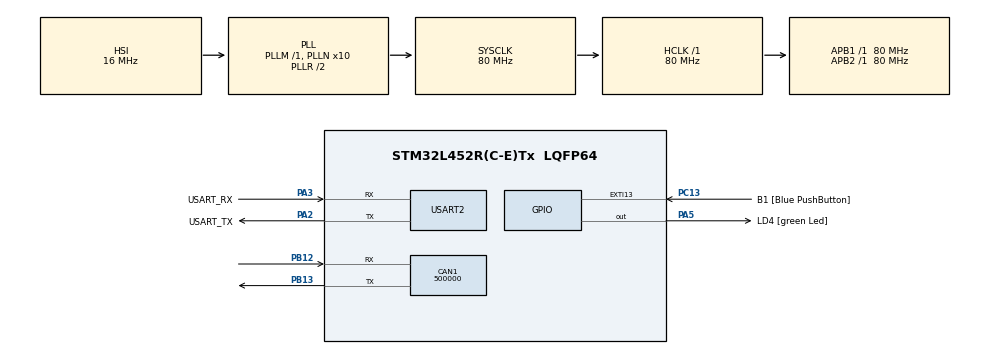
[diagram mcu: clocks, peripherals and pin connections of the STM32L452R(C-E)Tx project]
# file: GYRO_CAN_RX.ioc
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CAN1.BS1=CAN_BS1_4TQ
CAN1.BS2=CAN_BS2_5TQ
CAN1.CalculateBaudRate=500000
CAN1.CalculateTimeBit=2000
CAN1.CalculateTimeQuantum=200.0
Mcu.Family=STM32L4
Mcu.Name=STM32L452R(C-E)Tx
Mcu.Package=LQFP64
NVIC.PriorityGroup=NVIC_PRIORITYGROUP_4
PA13\ (JTMS/SWDIO).GPIO_Label=TMS
PA13\ (JTMS/SWDIO).Mode=Serial_Wire
PA13\ (JTMS/SWDIO).Signal=SYS_JTMS-SWDIO
PA14\ (JTCK/SWCLK).GPIO_Label=TCK
PA14\ (JTCK/SWCLK).Mode=Serial_Wire
PA14\ (JTCK/SWCLK).Signal=SYS_JTCK-SWCLK
PA2.GPIO_Label=USART_TX
PA2.GPIO_Mode=GPIO_MODE_AF_PP
PA2.GPIO_PuPd=GPIO_NOPULL
PA2.GPIO_Speed=GPIO_SPEED_FREQ_VERY_HIGH
PA2.Mode=Asynchronous
PA2.Signal=USART2_TX
PA3.GPIO_Label=USART_RX
PA3.GPIO_Mode=GPIO_MODE_AF_PP
PA3.GPIO_PuPd=GPIO_NOPULL
PA3.GPIO_Speed=GPIO_SPEED_FREQ_VERY_HIGH
PA3.Mode=Asynchronous
PA3.Signal=USART2_RX
PA5.GPIO_Label=LD4 [green Led]
PA5.GPIO_ModeDefaultOutputPP=GPIO_MODE_OUTPUT_PP
PA5.GPIO_PuPd=GPIO_NOPULL
PA5.GPIO_Speed=GPIO_SPEED_FREQ_LOW
PA5.Signal=GPIO_Output
PB12.Mode=CAN_Activate
PB12.Signal=CAN1_RX
PB13.Mode=CAN_Activate
PB13.Signal=CAN1_TX
PB3\ (JTDO/TRACESWO).GPIO_Label=SWO
PB3\ (JTDO/TRACESWO).Signal=SYS_JTDO-SWO
PC13.GPIO_Label=B1 [Blue PushButton]
PC13.GPIO_ModeDefaultEXTI=GPIO_MODE_IT_FALLING
PC13.GPIO_PuPd=GPIO_NOPULL
PC13.Signal=GPXTI13
PC14-OSC32_IN\ (PC14).Mode=LSE-External-Oscillator
PC14-OSC32_IN\ (PC14).Signal=RCC_OSC32_IN
PC15-OSC32_OUT\ (PC15).Mode=LSE-External-Oscillator
PC15-OSC32_OUT\ (PC15).Signal=RCC_OSC32_OUT
PH0-OSC_IN\ (PH0).Mode=HSE-External-Oscillator
PH0-OSC_IN\ (PH0).Signal=RCC_OSC_IN
PH1-OSC_OUT\ (PH1).Mode=HSE-External-Oscillator
PH1-OSC_OUT\ (PH1).Signal=RCC_OSC_OUT
ProjectManager.HeapSize=0x200
ProjectManager.StackSize=0x400
ProjectManager.TargetToolchain=STM32CubeIDE
RCC.ADCFreq_Value=64000000
RCC.AHBFreq_Value=80000000
RCC.APB1Freq_Value=80000000
RCC.APB1TimFreq_Value=80000000
RCC.APB2Freq_Value=80000000
RCC.APB2TimFreq_Value=80000000
RCC.CortexFreq_Value=80000000
RCC.HCLKFreq_Value=80000000
RCC.HSE_VALUE=8000000
RCC.HSI48_VALUE=48000000
RCC.HSI_VALUE=16000000
RCC.MSI_VALUE=4000000
RCC.PLLN=10
RCC.PLLSourceVirtual=RCC_PLLSOURCE_HSI
RCC.PREFETCH_ENABLE=1
RCC.SYSCLKFreq_VALUE=80000000
RCC.SYSCLKSource=RCC_SYSCLKSOURCE_PLLCLK
RCC.USBFreq_Value=64000000
RCC.VCOOutputFreq_Value=160000000
USART2.VirtualMode-Asynchronous=VM_ASYNC
board=NUCLEO-L452RE

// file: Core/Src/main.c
/* USER CODE BEGIN Header */
/**
  ******************************************************************************
  * @file           : main.c
  * @brief          : Main program body
  ******************************************************************************
  * @attention
  *
  * Copyright (c) 2023 STMicroelectronics.
  * All rights reserved.
  *
  * This software is licensed under terms that can be found in the LICENSE file
  * in the root directory of this software component.
  * If no LICENSE file comes with this software, it is provided AS-IS.
  *
  ******************************************************************************
  */
/* USER CODE END Header */
#include "main.h"
#include "can.h"
#include "usart.h"
#include "gpio.h"

/* USER CODE BEGIN PD */
CAN_RxHeaderTypeDef CAN_RXH;
CAN_FilterTypeDef gyro_fil;
int8_t CAN_value[8]={0};
typedef struct GYRO_DATA
{
	int8_t
	acc_x1,acc_x2,
	acc_y1,acc_y2,
	acc_z1,acc_z2,
	gyr_x1,gyr_x2,
	gyr_y1,gyr_y2,
	gyr_z1,gyr_z2,
	ang_x1,ang_x2,
	ang_y1,ang_y2,
	ang_z1,ang_z2;
	int16_t
	acc_X,acc_Y,acc_Z,
	gyr_X,gyr_Y,gyr_Z,
	ang_X,ang_Y,ang_Z;

} GYRO_DATA;

/* USER CODE END PD */

/* USER CODE BEGIN PV */
GYRO_DATA CAN_VALUE;
int16_t tmp;
uint8_t tmp2;
/* USER CODE END PV */

void SystemClock_Config(void);

int main(void)
{

  /* MCU Configuration--------------------------------------------------------*/

  /* Reset of all peripherals, Initializes the Flash interface and the Systick. */
  HAL_Init();

  /* Configure the system clock */
  SystemClock_Config();

  /* Initialize all configured peripherals */
  MX_GPIO_Init();
  MX_USART2_UART_Init();
  MX_CAN1_Init();
  /* USER CODE BEGIN 2 */
  gyro_fil.FilterActivation = CAN_FILTER_ENABLE;
  gyro_fil.FilterBank = 1;
  gyro_fil.FilterFIFOAssignment =CAN_FILTER_FIFO0;
  gyro_fil.FilterIdHigh = 0x0000;
  gyro_fil.FilterIdLow = 0x0000;
  gyro_fil.FilterMaskIdHigh = 0x0000;
  gyro_fil.FilterMaskIdLow = 0x0000;
  gyro_fil.FilterMode = CAN_FILTERMODE_IDMASK;
  gyro_fil.FilterScale = CAN_FILTERSCALE_16BIT;

  HAL_CAN_ConfigFilter(&hcan1,&gyro_fil);
  HAL_CAN_Start(&hcan1);

  /* USER CODE END 2 */

  /* Infinite loop */
  while (1)
  {

    /* USER CODE BEGIN 3 */
	  HAL_CAN_GetRxMessage(&hcan1, CAN_RX_FIFO0, &CAN_RXH, CAN_value);
	  if(CAN_RXH.StdId==1)
	  {
		  if(CAN_value[1]==0x33) //acc
		  	  {
		  		 CAN_VALUE.acc_x1=CAN_value[2];
		  		 CAN_VALUE.acc_x2=CAN_value[3];
		  		 CAN_VALUE.acc_y1=CAN_value[4];
		  		 CAN_VALUE.acc_y2=CAN_value[5];
		  		 CAN_VALUE.acc_z1=CAN_value[6];
		  		 CAN_VALUE.acc_z2=CAN_value[7];

				 CAN_VALUE.acc_X = (CAN_VALUE.acc_x2 << 8) + (uint8_t)CAN_VALUE.acc_x1;
			     CAN_VALUE.acc_Y = (CAN_VALUE.acc_y2 << 8) + (uint8_t)CAN_VALUE.acc_y1;
			  	 CAN_VALUE.acc_Z = (CAN_VALUE.acc_z2 << 8) + (uint8_t)CAN_VALUE.acc_z1;

		  		 /*CAN_VALUE.acc_X = (CAN_VALUE.acc_x2 << 8) | CAN_VALUE.acc_x1;
		  		 CAN_VALUE.acc_Y = (CAN_VALUE.acc_y2 << 8) | CAN_VALUE.acc_y1;
		  		 CAN_VALUE.acc_Z = (CAN_VALUE.acc_z2 << 8) | CAN_VALUE.acc_z1;*/
		  	  }
		  else if(CAN_value[1]==0x34) // gyro
		  	  {
			     CAN_VALUE.gyr_x1=CAN_value[2];
				 CAN_VALUE.gyr_x2=CAN_value[3];
				 CAN_VALUE.gyr_y1=CAN_value[4];
				 CAN_VALUE.gyr_y2=CAN_value[5];
				 CAN_VALUE.gyr_z1=CAN_value[6];
				 CAN_VALUE.gyr_z2=CAN_value[7];

				 CAN_VALUE.gyr_X = (CAN_VALUE.gyr_x2 << 8) + (uint8_t)CAN_VALUE.gyr_x1;
				 CAN_VALUE.gyr_Y = (CAN_VALUE.gyr_y2 << 8) + (uint8_t)CAN_VALUE.gyr_y1;
				 CAN_VALUE.gyr_Z = (CAN_VALUE.gyr_z2 << 8) + (uint8_t)CAN_VALUE.gyr_z1;

		  		 /*CAN_VALUE.gyr_X = (CAN_VALUE.gyr_x2 << 8) | CAN_VALUE.gyr_x1;
		  		 CAN_VALUE.gyr_Y = (CAN_VALUE.gyr_y2 << 8) | CAN_VALUE.gyr_y1;
		  		 CAN_VALUE.gyr_Z = (CAN_VALUE.gyr_z2 << 8) | CAN_VALUE.gyr_z1;*/
		  	  }
		  else if(CAN_value[1]==0x35) // ang
		  	  {
			     CAN_VALUE.ang_x1=CAN_value[2];
				 CAN_VALUE.ang_x2=CAN_value[3];
				 CAN_VALUE.ang_y1=CAN_value[4];
				 CAN_VALUE.ang_y2=CAN_value[5];
				 CAN_VALUE.ang_z1=CAN_value[6];
				 CAN_VALUE.ang_z2=CAN_value[7];

			  	CAN_VALUE.ang_X = (CAN_VALUE.ang_x2 << 8) + (uint8_t)CAN_VALUE.ang_x1;
		  		CAN_VALUE.ang_Y = (CAN_VALUE.ang_y2 << 8) + (uint8_t)CAN_VALUE.ang_y1;
		  		CAN_VALUE.ang_Z = (CAN_VALUE.ang_z2 << 8) + (uint8_t)CAN_VALUE.ang_z1;
		  		/*CAN_VALUE.ang_X = (CAN_VALUE.ang_x2 << 8) | CAN_VALUE.ang_x1;
			     CAN_VALUE.ang_Y = (CAN_VALUE.ang_y2 << 8) | CAN_VALUE.ang_y1;
		  		 tmp = (CAN_VALUE.ang_z2 << 8);
		  		 tmp2 = (uint8_t)CAN_VALUE.ang_z1;
		  		 CAN_VALUE.ang_Z = tmp + tmp2;*/
		  	  }
	  }
	  //HAL_Delay(1000);
  }
  /* USER CODE END 3 */
}

void SystemClock_Config(void)
{
  RCC_OscInitTypeDef RCC_OscInitStruct = {0};
  RCC_ClkInitTypeDef RCC_ClkInitStruct = {0};

  /** Configure the main internal regulator output voltage
  */
  if (HAL_PWREx_ControlVoltageScaling(PWR_REGULATOR_VOLTAGE_SCALE1) != HAL_OK)
  {
    Error_Handler();
  }

  /** Initializes the RCC Oscillators according to the specified parameters
  * in the RCC_OscInitTypeDef structure.
  */
  RCC_OscInitStruct.OscillatorType = RCC_OSCILLATORTYPE_HSI;
  RCC_OscInitStruct.HSIState = RCC_HSI_ON;
  RCC_OscInitStruct.HSICalibrationValue = RCC_HSICALIBRATION_DEFAULT;
  RCC_OscInitStruct.PLL.PLLState = RCC_PLL_ON;
  RCC_OscInitStruct.PLL.PLLSource = RCC_PLLSOURCE_HSI;
  RCC_OscInitStruct.PLL.PLLM = 1;
  RCC_OscInitStruct.PLL.PLLN = 10;
  RCC_OscInitStruct.PLL.PLLP = RCC_PLLP_DIV7;
  RCC_OscInitStruct.PLL.PLLQ = RCC_PLLQ_DIV2;
  RCC_OscInitStruct.PLL.PLLR = RCC_PLLR_DIV2;
  if (HAL_RCC_OscConfig(&RCC_OscInitStruct) != HAL_OK)
  {
    Error_Handler();
  }

  /** Initializes the CPU, AHB and APB buses clocks
  */
  RCC_ClkInitStruct.ClockType = RCC_CLOCKTYPE_HCLK|RCC_CLOCKTYPE_SYSCLK
                              |RCC_CLOCKTYPE_PCLK1|RCC_CLOCKTYPE_PCLK2;
  RCC_ClkInitStruct.SYSCLKSource = RCC_SYSCLKSOURCE_PLLCLK;
  RCC_ClkInitStruct.AHBCLKDivider = RCC_SYSCLK_DIV1;
  RCC_ClkInitStruct.APB1CLKDivider = RCC_HCLK_DIV1;
  RCC_ClkInitStruct.APB2CLKDivider = RCC_HCLK_DIV1;

  if (HAL_RCC_ClockConfig(&RCC_ClkInitStruct, FLASH_LATENCY_4) != HAL_OK)
  {
    Error_Handler();
  }
}

void Error_Handler(void)
{
  __disable_irq();
  while (1)
  {
  }
}
